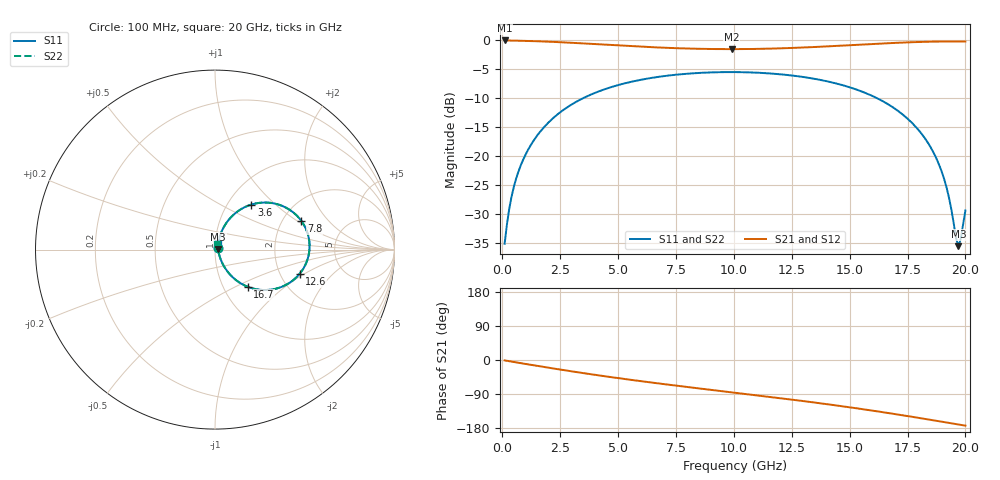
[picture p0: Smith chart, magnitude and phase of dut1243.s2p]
! Touchstone file exported from HFSS 2026.1.0
!  File:  C:/ffzhzh/LocalFiles/Ansys_Project_Files/temp_train_TSV_RDL_1243_1783324405_5512.aedt
!  Generated:  04:04:56 PM Jul  6, 2026
!  Design:  TSV_RDL
!  Project:  temp_train_TSV_RDL_1243_1783324405_5512
! Variables:
!  h_bsmrdl = 4.75um
!  h_ox = 20um
!  h_rdl = 5um
!  h_sub = 78.42um
!  h_tmrdl = 2.42um
!  h_tsv = 78.42um
!  h_via = 3um
!  l_bsmrdl = 277.59um
!  l_sub = 2763.32um
!  l_tmrdl = 350.71um
!  m_sub = 200um
!  pitch = 59.39um
!  r_tsv = 14.29um
!  s_tmrdl = 10um
!  w_bsmrdl = 22.07um
!  w_sub = 500um
!  w_tmrdl = 20.5um
!  x_tsv_center1 = 360.96um
!  x_tsv_center2 = 660.62um
!  x_tsv_center3 = 1031.83um
!  x_tsv_center4 = 1331.49um
!  x_tsv_center5 = 1702.7um
!  x_tsv_center6 = 2002.36um
# GHz S MA R 50.000000
! Terminal data exported
! Port[1] = TM_RDL1_1_T1
! Port[2] = TM_RDL5_1_T1
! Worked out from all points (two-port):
!   200 points, 100 MHz to 20 GHz, reference 50 ohm
!   highest |S21| = -0.12 dB at 100 MHz (marker M1); lowest = -1.6 dB at 9.9 GHz (marker M2)
!   |S21| within 3 dB of the highest: start of sweep to end of sweep
!   lowest |S11| = -35.5 dB at 19.7 GHz (marker M3), VSWR 1.03, Z = 51.7 + j0.245 ohm
!   |S11| at or under -10 dB: start of sweep to 3.512 GHz; 16.16 GHz to end of sweep
!   |S22| runs from -35.5 to -5.6 dB; largest |S21 - S12| = 3.2e-14
!   S11 on the Smith chart (normalised r, x): 100 MHz: 1.03, +0.02; 3.6 GHz: 1.28, +0.72; 7.8 GHz: 2.52, +1.08; 12.6 GHz: 2.55, -0.91; 16.7 GHz: 1.30, -0.58; 20 GHz: 1.03, +0.06
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0.1  0.01766 36.9  0.986 -1.1  0.986 -1.1  0.01766 36.9
! Gamma 0 0 0 0
! Port Impedance 50 0 50 0
0.3  0.0353 62.0  0.9847 -3.2  0.9847 -3.2  0.0353 62.0
0.5  0.05464 67.9  0.9828 -5.3  0.9828 -5.3  0.05464 67.9
1.1  0.1122 69.7  0.9764 -11.4  0.9764 -11.4  0.1122 69.7
2.1  0.2039 63.5  0.9606 -21.3  0.9606 -21.3  0.2039 63.5
3.5  0.3154 51.9  0.9297 -34.6  0.9297 -34.6  0.3154 51.9
3.6  0.3225 51.1  0.9273 -35.5  0.9273 -35.5  0.3225 51.1
6.8  0.4818 25.7  0.8569 -62.3  0.8569 -62.3  0.4818 25.7
7.8  0.5071 18.3  0.8427 -69.8  0.8427 -69.8  0.5071 18.3
9.9  0.5276 3.4  0.8306 -85.2  0.8306 -85.2  0.5276 3.4
10.1  0.5273 2.0  0.8307 -86.7  0.8307 -86.7  0.5273 2.0
12.6  0.4906 -15.9  0.8514 -105.3  0.8514 -105.3  0.4905 -16.0
13.4  0.4649 -21.9  0.8646 -111.5  0.8646 -111.5  0.4648 -22.0
15.2  0.3791 -36.2  0.902 -126.5  0.902 -126.5  0.3791 -36.2
16.7  0.2761 -48.6  0.9347 -140.2  0.9347 -140.2  0.2761 -48.6
17.9  0.1746 -58.0  0.9555 -151.9  0.9555 -151.9  0.1746 -58.1
18.7  0.1001 -61.8  0.9641 -159.9  0.9641 -159.9  0.1 -61.8
19.2  0.05251 -57.7  0.9666 -165.0  0.9666 -165.0  0.05246 -57.9
19.6  0.01964 -21.4  0.967 -169.1  0.967 -169.1  0.01953 -21.5
19.7  0.01685 8.1  0.9669 -170.2  0.9669 -170.2  0.01674 8.1
19.8  0.01951 37.7  0.9666 -171.2  0.9666 -171.2  0.01942 37.9
20  0.03415 65.9  0.9659 -173.3  0.9659 -173.3  0.03412 66.1
